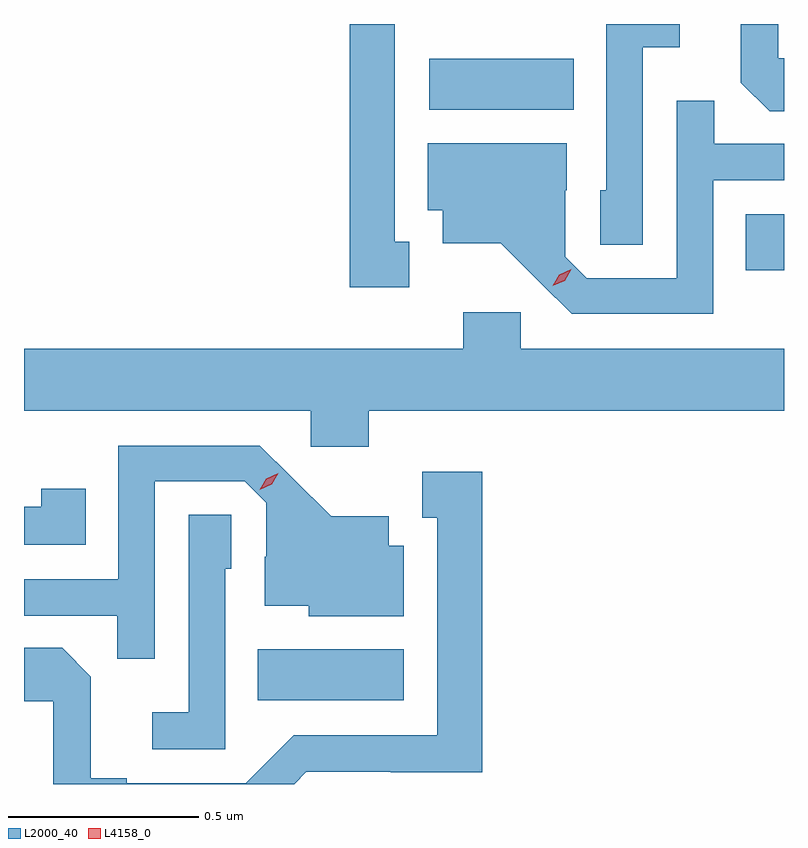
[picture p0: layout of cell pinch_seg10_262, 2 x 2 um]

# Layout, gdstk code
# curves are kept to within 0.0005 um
import gdstk
lib = gdstk.Library(unit=1e-6, precision=1e-09)
def R(c, l, rs):  # rectangles x0, y0, x1, y1
    for r in rs: c.add(gdstk.rectangle(r[:2], r[2:], *l))
def P(c, l, *ps):  # polygons
    for p in ps: c.add(gdstk.Polygon(p, *l))
L2000_40 = (2000, 40)
L4158_0 = (4158, 0)

pinch_seg10_262 = lib.new_cell('pinch_seg10_262')
R(pinch_seg10_262, L2000_40, [(591.358,1302.218,591.742,1302.352), (592.642,1303.35,592.743,1303.497), (591.81,1303.772,592.19,1303.906)])
P(pinch_seg10_262, L2000_40, [(591.757,1303.425),(591.718,1303.425),(591.718,1303.998),(591.6,1303.998),(591.6,1303.305),(591.757,1303.305)],
  [(592.743,1303.908),(592.728,1303.908),(592.728,1303.998),(592.629,1303.998),(592.629,1303.844),(592.705,1303.768),(592.743,1303.768)],
  [(592.371,1303.937),(592.468,1303.937),(592.468,1303.998),(592.275,1303.998),(592.275,1303.56),(592.26,1303.56),(592.26,1303.417),(592.371,1303.417)],
  [(592.557,1303.587),(592.743,1303.587),(592.743,1303.683),(592.559,1303.683),(592.559,1303.796),(592.461,1303.796),(592.461,1303.329),(592.224,1303.329),(592.167,1303.386),(592.167,1303.56),(592.171,1303.56),(592.171,1303.684),(591.806,1303.684),(591.806,1303.508),(591.845,1303.508),(591.845,1303.421),(591.997,1303.421),(592.184,1303.236),(592.557,1303.236)],
  [(591.65,1302.98),(592.743,1302.98),(592.743,1303.144),(592.05,1303.144),(592.05,1303.24),(591.899,1303.24),(591.899,1303.144),(590.743,1303.144),(590.743,1302.98),(591.498,1302.98),(591.498,1302.885),(591.65,1302.885)],
  [(591.087,1302.795),(591.324,1302.795),(591.381,1302.738),(591.381,1302.596),(591.377,1302.596),(591.377,1302.467),(591.492,1302.467),(591.492,1302.44),(591.742,1302.44),(591.742,1302.625),(591.703,1302.625),(591.703,1302.703),(591.551,1302.703),(591.364,1302.888),(590.991,1302.888),(590.991,1302.537),(590.743,1302.537),(590.743,1302.441),(590.989,1302.441),(590.989,1302.328),(591.087,1302.328)],
  [(591.486,1302.03),(591.708,1302.03),(591.708,1302.029),(591.949,1302.029),(591.949,1302.82),(591.791,1302.82),(591.791,1302.699),(591.83,1302.699),(591.83,1302.126),(591.453,1302.126),(591.327,1302),(591.013,1302),(591.013,1302.013),(590.919,1302.013),(590.919,1302.28),(590.843,1302.356),(590.743,1302.356),(590.743,1302.216),(590.82,1302.216),(590.82,1301.998),(591.454,1301.998)],
  [(590.906,1302.775),(590.788,1302.775),(590.788,1302.728),(590.743,1302.728),(590.743,1302.627),(590.906,1302.627)],
  [(591.273,1302.564),(591.288,1302.564),(591.288,1302.707),(591.177,1302.707),(591.177,1302.187),(591.081,1302.187),(591.081,1302.09),(591.273,1302.09)])
P(pinch_seg10_262, L4158_0, [(592.135,1303.309),(592.135,1303.309),(592.152,1303.338),(592.183,1303.353),(592.183,1303.353),(592.183,1303.353),(592.166,1303.323),(592.135,1303.309)],
  [(591.364,1302.772),(591.364,1302.772),(591.381,1302.801),(591.412,1302.816),(591.412,1302.816),(591.412,1302.816),(591.395,1302.787),(591.364,1302.772)])

lib.write_gds('pinch_seg10_262.gds')
